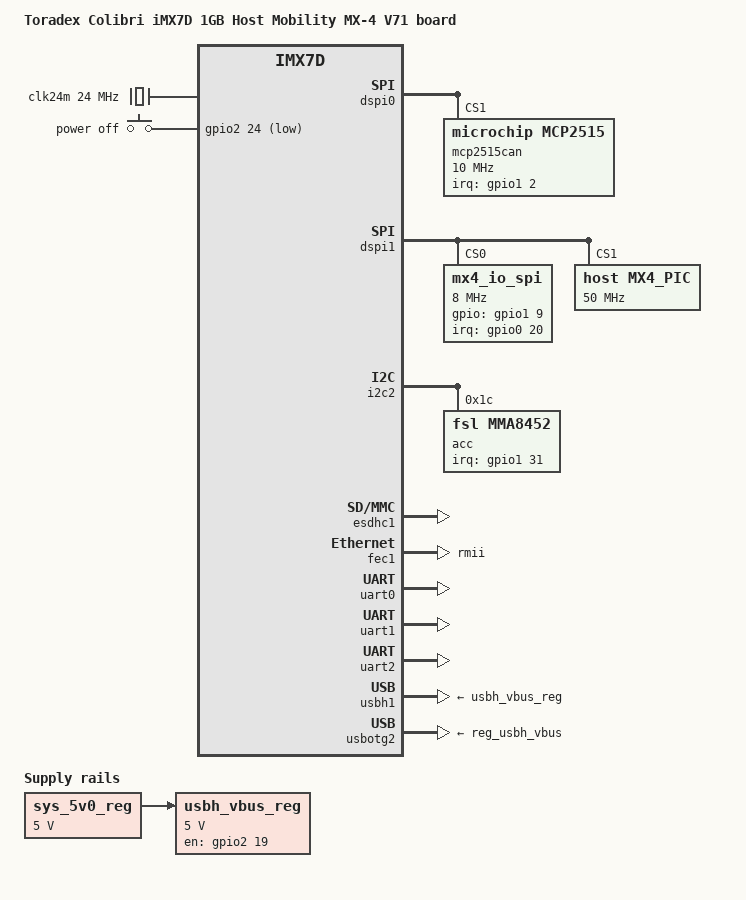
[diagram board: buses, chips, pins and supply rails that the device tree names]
/*
 * Copyright 2015 Host Mobility AB
 *
 * This program is free software; you can redistribute it and/or modify
 * it under the terms of the GNU General Public License as published by
 * the Free Software Foundation; either version 2 of the License, or
 * (at your option) any later version.
 */

/dts-v1/;
#include "mx4-d71.dtsi"
#include <dt-bindings/input/input.h>

/ {
	model = "Toradex Colibri iMX7D 1GB Host Mobility MX-4 V71 board";
	compatible = "toradex,colibri_imx7d_emmc-eval", "toradex,colibri_imx7d_emmc", \
		     "fsl,imx7d";

	chosen {
		bootargs = "console=ttyLP0,115200";
	};

	clk24m: clk24m {
		compatible = "fixed-clock";
		#clock-cells = <0>;
		clock-frequency = <24000000>;
	};

	regulators {
		compatible = "simple-bus";
		#address-cells = <1>;
		#size-cells = <0>;

		sys_5v0_reg: regulator@0 {
			compatible = "regulator-fixed";
			reg = <0>;
			regulator-name = "5v0";
			regulator-min-microvolt = <5000000>;
			regulator-max-microvolt = <5000000>;
			regulator-always-on;
		};

		/* USBH_PEN */
		usbh_vbus_reg: regulator@1 {
			compatible = "regulator-fixed";
			pinctrl-names = "default";
			pinctrl-0 = <&pinctrl_usbh1_reg>;
			reg = <1>;
			gpio = <&gpio2 19 0>;
			enable-active-high;
			regulator-name = "usbh_vbus";
			regulator-min-microvolt = <5000000>;
			regulator-max-microvolt = <5000000>;
			vin-supply = <&sys_5v0_reg>;

			regulator-state-mem {
				regulator-on-in-suspend;
			};
		};
	};

	gpio-keys {
		compatible = "gpio-keys";
		pinctrl-names = "default";
		pinctrl-0 = <&pinctrl_gpiokeys>;

		power {
			label = "power off";
			gpios = <&gpio2 24 GPIO_ACTIVE_LOW>;
			linux,code = <KEY_POWER>;
			debounce-interval = <10>;
		};
	};
};

&dspi0 {
	status = "okay";

	mcp2515can: can@1 {
		compatible = "microchip,mcp2515";
		pinctrl-names = "default";
		pinctrl-0 = <&pinctrl_can_int>;
		reg = <1>;
		clocks = <&clk24m>;
		spi-max-frequency = <10000000>;
		interrupt-parent = <&gpio1>;
		interrupts = <2 GPIO_ACTIVE_LOW>;
	};
};

&dspi1 {
	status = "okay";

    mx4_io_spi: dspi@0 {
       	compatible = "mx4_io_spi";
       	reg = <0>;
       	spi-max-frequency = <8000000>;
       	pinctrl-names = "default";
		pinctrl-0 = <&pinctrl_mx4_io_int>;
		interrupt-parent = <&gpio0>;
       	interrupts = <20 IRQ_TYPE_EDGE_RISING>;
       	gpios = <&gpio1 9 IRQ_TYPE_EDGE_RISING>;
       	spi-cpha;
   };

    mx4_pic: dspi@1 {
        compatible = "host,mx4_pic";
        reg = <1>;
        spi-max-frequency = <50000000>;
    };
};

&i2c2 {
	status = "okay";

    acc: mma8452q@1c {
    	compatible = "fsl,mma8452";
    	reg = <0x1c>;
    	pinctrl-names = "default";
		pinctrl-0 = <&pinctrl_acc>;
        interrupt-parent = <&gpio1>;
        interrupts = <31 IRQ_TYPE_EDGE_FALLING>;
    };
};


&esdhc1 {
	status = "okay";
};

&fec1 {
	phy-mode = "rmii";
	pinctrl-names = "default";
	pinctrl-0 = <&pinctrl_fec1>;
	status = "okay";
};

&uart0 {
	status = "okay";
};

&uart1 {
	status = "okay";
};

&uart2 {
	status = "okay";
};

&usbh1 {
	vbus-supply = <&usbh_vbus_reg>;
};

 &iomuxc {
 	imx7-colibri {
		 /*Input voltage low sodim 133*/
 		pinctrl_gpiokeys: gpiokeys {
 			fsl,pins = <
				MX7D_PAD_EPDC_GDRL__GPIO2_IO26 0x0001
			>;
 		};
		 /*mcp2515 int sodim 27*/
		pinctrl_can_int: can_int {
			fsl,pins = <
				MX7D_PAD_SAI2_TX_BCLK__GPIO6_IO20 0x22ed
			>;
		};
		/*acc-int sodim 106*/
        pinctrl_acc: acc_int1 {
            fsl,pins = <
                MX7D_PAD_EPDC_BDR0__GPIO2_IO28 0x219d
            >;
      	};
		/*pic spi sodim 37 and 45(wake up cpu)*/
		pinctrl_mx4_io_int: mx4_io_int {
            fsl,pins = <
                MX7D_PAD_LPSR_GPIO1_IO06__GPIO1_IO6	0x0009
                MX7D_PAD_LPSR_GPIO1_IO01__GPIO1_IO1	0x0009
            >;
        };
 	};
};

&usbotg2 {
	vbus-supply = <&reg_usbh_vbus>;
	status = "okay";
};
